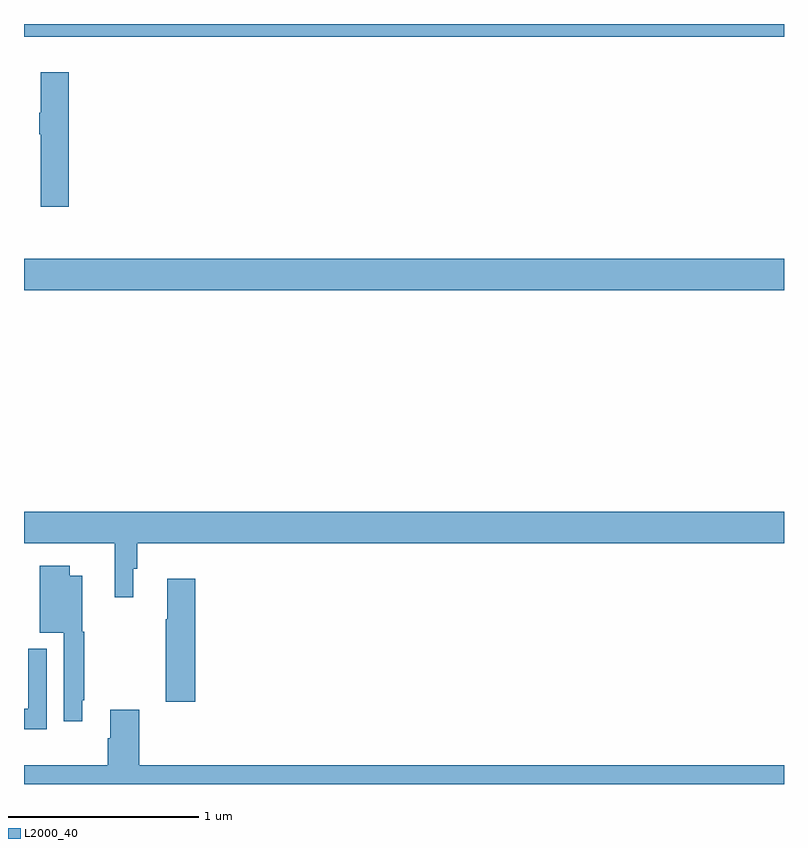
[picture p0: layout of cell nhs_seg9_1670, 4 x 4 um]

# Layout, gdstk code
import gdstk
lib = gdstk.Library(unit=1e-6, precision=1e-09)
def R(c, l, rs):  # rectangles x0, y0, x1, y1
    for r in rs: c.add(gdstk.rectangle(r[:2], r[2:], *l))
def P(c, l, *ps):  # polygons
    for p in ps: c.add(gdstk.Polygon(p, *l))
L2000_40 = (2000, 40)

nhs_seg9_1670 = lib.new_cell('nhs_seg9_1670')
R(nhs_seg9_1670, L2000_40, [(205,1183.1,209,1183.264), (205,1184.432,209,1184.5)])
P(nhs_seg9_1670, L2000_40, [(205.235,1184.245),(205.088,1184.245),(205.088,1184.032),(205.081,1184.032),(205.081,1183.92),(205.088,1183.92),(205.088,1183.539),(205.235,1183.539)],
  [(205.576,1181.634),(205.595,1181.634),(205.595,1181.768),(209,1181.768),(209,1181.932),(205,1181.932),(205,1181.768),(205.477,1181.768),(205.477,1181.484),(205.576,1181.484)],
  [(205.306,1180.942),(205.318,1180.942),(205.318,1181.301),(205.306,1181.301),(205.306,1181.596),(205.24,1181.596),(205.24,1181.65),(205.082,1181.65),(205.082,1181.297),(205.209,1181.297),(205.209,1180.83),(205.306,1180.83)],
  [(205.901,1181.581),(205.754,1181.581),(205.754,1181.368),(205.747,1181.368),(205.747,1180.932),(205.901,1180.932)],
  [(205.119,1181.212),(205.022,1181.212),(205.022,1180.897),(205,1180.897),(205,1180.788),(205.119,1180.788)],
  [(209,1180.6),(205.607,1180.6),(205.607,1180.891),(205.454,1180.891),(205.454,1180.742),(205.442,1180.742),(205.442,1180.6),(205,1180.6),(205,1180.5),(209,1180.5)])

lib.write_gds('nhs_seg9_1670.gds')
